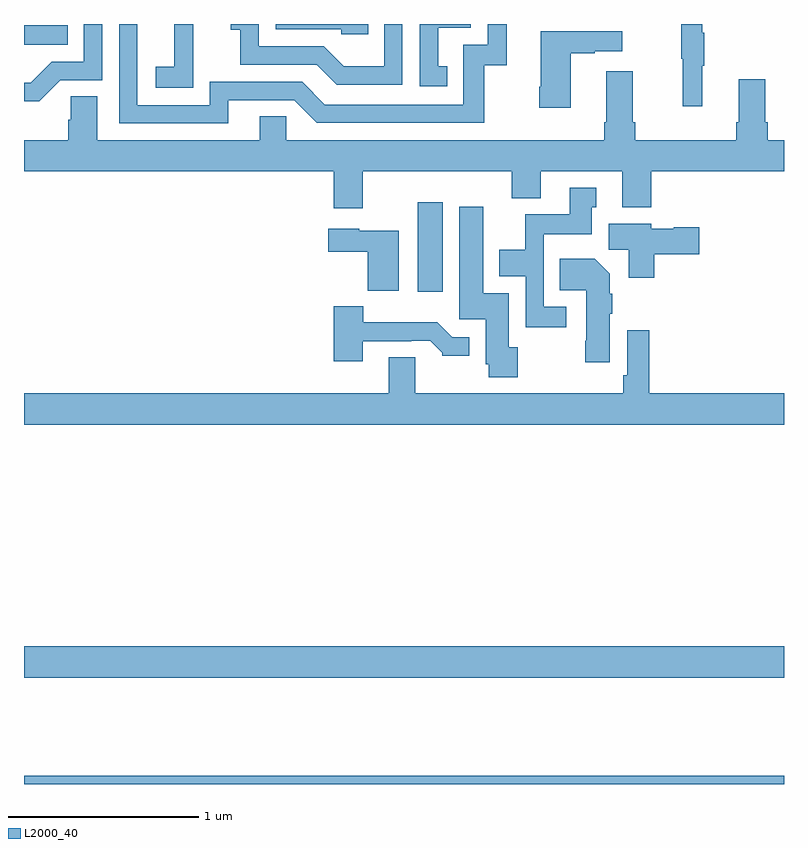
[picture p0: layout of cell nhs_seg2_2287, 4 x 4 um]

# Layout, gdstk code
import gdstk
lib = gdstk.Library(unit=1e-6, precision=1e-09)
def R(c, l, rs):  # rectangles x0, y0, x1, y1
    for r in rs: c.add(gdstk.rectangle(r[:2], r[2:], *l))
def P(c, l, *ps):  # polygons
    for p in ps: c.add(gdstk.Polygon(p, *l))
L2000_40 = (2000, 40)

nhs_seg2_2287 = lib.new_cell('nhs_seg2_2287')
R(nhs_seg2_2287, L2000_40, [(231,589.8,235,589.844), (231,590.36,235,590.524), (233.072,592.392,233.203,592.861), (231,593.69,231.23,593.794)])
P(nhs_seg2_2287, L2000_40, [(231.192,593.505),(231.411,593.505),(231.411,593.8),(231.315,593.8),(231.315,593.601),(231.146,593.601),(231.035,593.49),(231,593.49),(231,593.393),(231.079,593.393)],
  [(234.569,593.579),(234.58,593.579),(234.58,593.753),(234.569,593.753),(234.569,593.8),(234.459,593.8),(234.459,593.616),(234.466,593.616),(234.466,593.367),(234.569,593.367)],
  [(233.228,593.577),(233.179,593.577),(233.179,593.781),(233.352,593.781),(233.352,593.8),(233.082,593.8),(233.082,593.472),(233.228,593.472)],
  [(231.891,593.671),(231.89,593.671),(231.89,593.8),(231.791,593.8),(231.791,593.575),(231.693,593.575),(231.693,593.465),(231.891,593.465)],
  [(232.811,593.8),(232.326,593.8),(232.326,593.772),(232.671,593.772),(232.671,593.745),(232.811,593.745)],
  [(232.992,593.8),(232.896,593.8),(232.896,593.578),(232.682,593.578),(232.578,593.682),(232.236,593.682),(232.236,593.8),(232.089,593.8),(232.089,593.771),(232.138,593.771),(232.138,593.586),(232.541,593.586),(232.646,593.481),(232.992,593.481)],
  [(232.075,593.4),(232.422,593.4),(232.542,593.28),(233.422,593.28),(233.422,593.583),(233.54,593.583),(233.54,593.8),(233.442,593.8),(233.442,593.691),(233.313,593.691),(233.313,593.376),(232.584,593.376),(232.464,593.496),(231.978,593.496),(231.978,593.373),(231.597,593.373),(231.597,593.8),(231.501,593.8),(231.501,593.277),(232.075,593.277)],
  [(233.878,593.647),(234.005,593.647),(234.005,593.657),(234.148,593.657),(234.148,593.761),(233.72,593.761),(233.72,593.47),(233.713,593.47),(233.713,593.358),(233.878,593.358)],
  [(232.783,593.024),(233.567,593.024),(233.567,592.883),(233.719,592.883),(233.719,593.024),(234.149,593.024),(234.149,592.835),(234.302,592.835),(234.302,593.024),(235,593.024),(235,593.188),(234.914,593.188),(234.914,593.284),(234.901,593.284),(234.901,593.509),(234.761,593.509),(234.761,593.284),(234.749,593.284),(234.749,593.188),(234.218,593.188),(234.218,593.284),(234.205,593.284),(234.205,593.551),(234.065,593.551),(234.065,593.284),(234.053,593.284),(234.053,593.188),(232.38,593.188),(232.38,593.315),(232.241,593.315),(232.241,593.188),(231.385,593.188),(231.385,593.42),(231.246,593.42),(231.246,593.297),(231.233,593.297),(231.233,593.188),(231,593.188),(231,593.024),(232.631,593.024),(232.631,592.83),(232.783,592.83)],
  [(233.854,592.311),(233.736,592.311),(233.736,592.694),(233.989,592.694),(233.989,592.836),(234.013,592.836),(234.013,592.939),(233.873,592.939),(233.873,592.798),(233.638,592.798),(233.638,592.612),(233.501,592.612),(233.501,592.472),(233.64,592.472),(233.64,592.203),(233.854,592.203)],
  [(233.598,592.098),(233.551,592.098),(233.551,592.384),(233.416,592.384),(233.416,592.837),(233.291,592.837),(233.291,592.245),(233.429,592.245),(233.429,592.008),(233.446,592.008),(233.446,591.942),(233.598,591.942)],
  [(234.317,592.589),(234.553,592.589),(234.553,592.731),(234.42,592.731),(234.42,592.723),(234.3,592.723),(234.3,592.75),(234.077,592.75),(234.077,592.612),(234.182,592.612),(234.182,592.464),(234.317,592.464)],
  [(232.972,592.711),(232.764,592.711),(232.764,592.723),(232.602,592.723),(232.602,592.601),(232.81,592.601),(232.81,592.397),(232.972,592.397)],
  [(234.082,592.276),(234.095,592.276),(234.095,592.379),(234.082,592.379),(234.082,592.486),(234.004,592.564),(233.821,592.564),(233.821,592.4),(233.96,592.4),(233.96,592.132),(233.953,592.132),(233.953,592.02),(234.082,592.02)],
  [(232.783,592.131),(233.039,592.131),(233.039,592.134),(233.138,592.134),(233.202,592.07),(233.202,592.055),(233.344,592.055),(233.344,592.152),(233.253,592.152),(233.175,592.231),(232.786,592.231),(232.786,592.315),(232.631,592.315),(232.631,592.026),(232.783,592.026)],
  [(235,591.856),(234.29,591.856),(234.29,592.189),(234.174,592.189),(234.174,591.952),(234.154,591.952),(234.154,591.856),(233.059,591.856),(233.059,592.046),(232.919,592.046),(232.919,591.856),(231,591.856),(231,591.692),(235,591.692)])

lib.write_gds('nhs_seg2_2287.gds')
